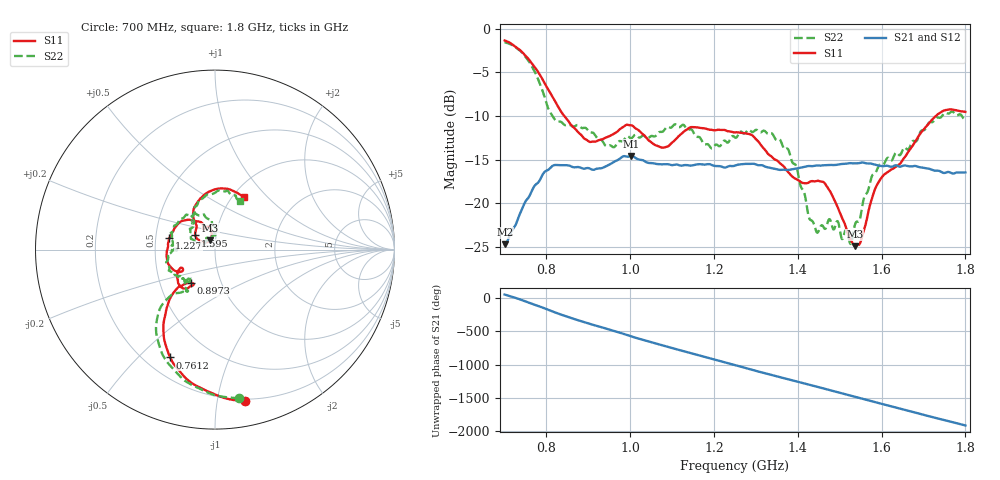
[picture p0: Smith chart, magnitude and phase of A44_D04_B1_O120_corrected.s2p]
! Created with skrf 1.9.0 (http://scikit-rf.org).
# Hz S RI R 50.0
!freq ReS11 ImS11 ReS21 ImS21 ReS12 ImS12 ReS22 ImS22
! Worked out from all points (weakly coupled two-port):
!   1601 points, 700 MHz to 1.8 GHz, reference 50 ohm
!   highest |S21| = -14.59 dB at 1.002 GHz (marker M1); lowest = -24.7 dB at 700.7 MHz (marker M2)
!   lowest |S11| = -24.9 dB at 1.536 GHz (marker M3), VSWR 1.12, Z = 47.3 + j4.82 ohm
!   |S11| at or under -10 dB: 842.3 MHz to 1.729 GHz (886.9 MHz wide, 69 % of centre)
!   |S22| runs from -24.7 to -1.5 dB; largest |S21 - S12| = 0.0033
!   S11 on the Smith chart (normalised r, x): 700 MHz: 0.19, -1.20; 761.2 MHz: 0.30, -0.62; 897.3 MHz: 0.72, -0.28; 1.227 GHz: 0.59, +0.08; 1.595 GHz: 0.79, +0.13; 1.8 GHz: 1.13, +0.74
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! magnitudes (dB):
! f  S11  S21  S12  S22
! 700 MHz  -1.3  -24.7  -24.5  -1.5
! 700.7 MHz  -1.3  -24.7  -24.4  -1.5
! 761.2 MHz  -3.7  -19.0  -18.9  -4.0
! 819.6 MHz  -8.2  -15.6  -15.7  -10.4
! 883.6 MHz  -12.2  -16.0  -15.9  -11.4
! 897.3 MHz  -12.8  -16.0  -16.0  -11.5
! 944.1 MHz  -12.4  -15.7  -15.7  -13.5
! 1.002 GHz  -11.1  -14.6  -14.7  -12.6
! 1.067 GHz  -13.5  -15.5  -15.5  -11.9
! 1.145 GHz  -11.3  -15.7  -15.7  -11.5
! 1.227 GHz  -11.6  -15.9  -15.8  -12.9
! 1.25 GHz  -11.9  -15.7  -15.6  -12.5
! 1.357 GHz  -15.4  -16.2  -16.1  -12.7
! 1.396 GHz  -17.2  -16.0  -16.0  -15.7
! 1.434 GHz  -17.5  -15.8  -15.7  -22.0
! 1.471 GHz  -18.2  -15.6  -15.6  -22.3
! 1.526 GHz  -24.1  -15.4  -15.4  -24.7
! 1.536 GHz  -24.9  -15.4  -15.4  -22.5
! 1.595 GHz  -17.4  -15.7  -15.7  -15.6
! 1.617 GHz  -16.3  -15.8  -15.7  -14.8
! 1.733 GHz  -9.8  -16.3  -16.3  -10.2
! 1.8 GHz  -9.5  -16.5  -16.5  -10.4
